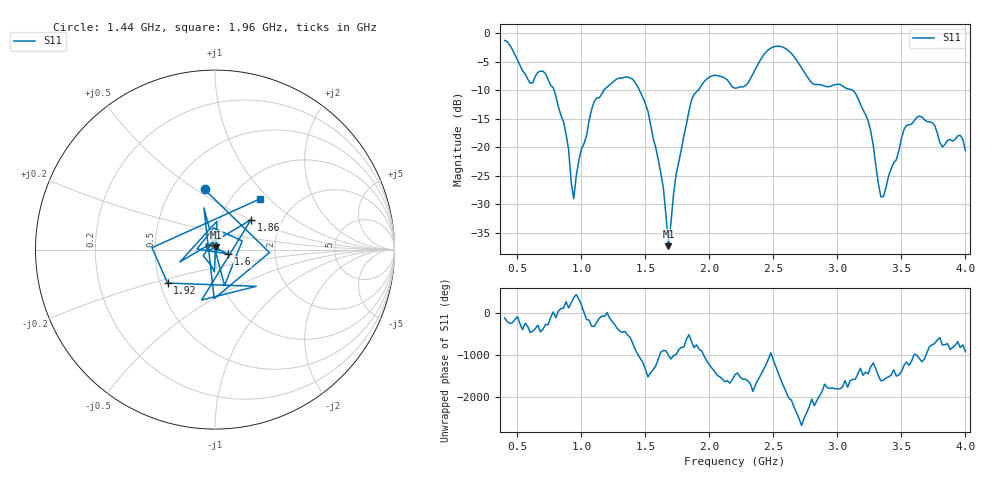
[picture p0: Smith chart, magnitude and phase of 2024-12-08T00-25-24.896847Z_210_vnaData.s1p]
!Created with skrf (http://scikit-rf.org).
# Hz S RI R 50.0
!freq ReS11 ImS11
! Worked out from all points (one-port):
!   181 points, 400 MHz to 4 GHz, reference 50 ohm
!   lowest |S11| = -37.3 dB at 1.68 GHz (marker M1), VSWR 1.03, Z = 50.3 + j1.33 ohm
!   |S11| at or under -10 dB: 786.3 MHz to 1.176 GHz (389.6 MHz wide, 39.7 % of centre); 1.453 GHz to 1.911 GHz (457.8 MHz wide, 27.2 % of centre); 3.12 GHz to end of sweep
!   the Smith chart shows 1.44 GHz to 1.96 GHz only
!   S11 on the Smith chart (normalised r, x): 1.44 GHz: 0.72, +0.54; 1.6 GHz: 1.16, -0.06; 1.86 GHz: 1.40, +0.50; 1.92 GHz: 0.55, -0.23; 1.96 GHz: 1.34, +0.88
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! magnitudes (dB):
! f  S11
! 400 MHz  -1.3
! 600 MHz  -8.8
! 720 MHz  -7.1
! 860 MHz  -15.5
! 940 MHz  -29.0
! 980 MHz  -22.3
! 1.1 GHz  -12.0
! 1.3 GHz  -7.9
! 1.44 GHz  -9.4
! 1.6 GHz  -22.1
! 1.64 GHz  -27.0
! 1.68 GHz  -37.3
! 1.76 GHz  -22.6
! 1.86 GHz  -11.7
! 1.92 GHz  -9.8
! 1.96 GHz  -8.4
! 2.2 GHz  -9.6
! 2.48 GHz  -2.6
! 2.66 GHz  -4.1
! 2.8 GHz  -8.7
! 3.1 GHz  -9.8
! 3.24 GHz  -15.4
! 3.34 GHz  -28.7
! 3.56 GHz  -16.0
! 3.66 GHz  -14.7
! 3.82 GHz  -19.9
! 3.96 GHz  -17.9
! 4 GHz  -20.6
